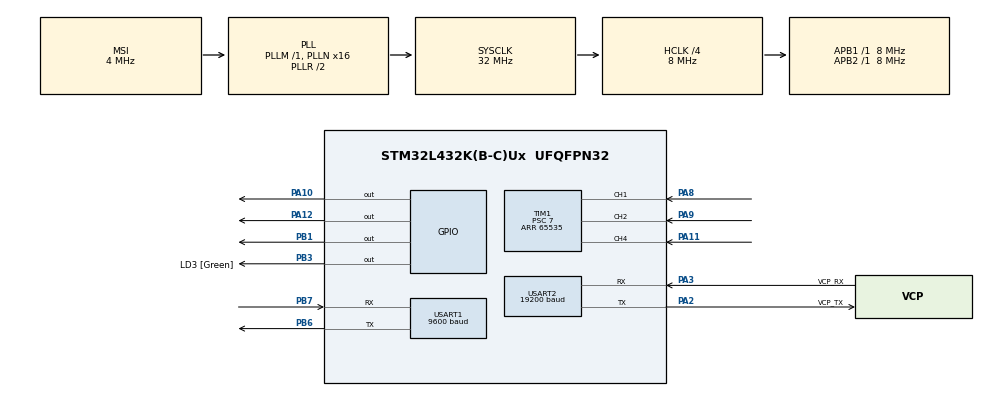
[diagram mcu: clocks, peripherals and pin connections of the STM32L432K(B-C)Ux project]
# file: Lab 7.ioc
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Mcu.Family=STM32L4
Mcu.Name=STM32L432K(B-C)Ux
Mcu.Package=UFQFPN32
NVIC.PriorityGroup=NVIC_PRIORITYGROUP_4
NVIC.TIM1_CC_IRQn=true\:0\:0\:false\:false\:true\:true\:true\:true
NVIC.USART1_IRQn=true\:0\:0\:false\:false\:true\:true\:true\:true
NVIC.USART2_IRQn=true\:0\:0\:false\:false\:true\:true\:true\:true
PA0.GPIO_Label=MCO [High speed clock in]
PA0.Mode=HSE-External-Clock-Source-for-LittleOrca
PA0.Signal=RCC_CK_IN
PA10.Signal=GPIO_Output
PA11.Signal=S_TIM1_CH4
PA12.Signal=GPIO_Output
PA13\ (JTMS-SWDIO).GPIO_Label=SWDIO
PA13\ (JTMS-SWDIO).Mode=Serial_Wire
PA13\ (JTMS-SWDIO).Signal=SYS_JTMS-SWDIO
PA14\ (JTCK-SWCLK).GPIO_Label=SWCLK
PA14\ (JTCK-SWCLK).Mode=Serial_Wire
PA14\ (JTCK-SWCLK).Signal=SYS_JTCK-SWCLK
PA2.GPIO_Label=VCP_TX
PA2.Mode=Asynchronous
PA2.Signal=USART2_TX
PA3.GPIO_Label=VCP_RX
PA3.Mode=Asynchronous
PA3.Signal=USART2_RX
PA8.Signal=S_TIM1_CH1
PA9.Signal=S_TIM1_CH2
PB1.Signal=GPIO_Output
PB3\ (JTDO-TRACESWO).GPIO_Label=LD3 [Green]
PB3\ (JTDO-TRACESWO).Signal=GPIO_Output
PB6.Mode=Asynchronous
PB6.Signal=USART1_TX
PB7.Mode=Asynchronous
PB7.Signal=USART1_RX
PC14-OSC32_IN\ (PC14).Mode=LSE-External-Oscillator
PC14-OSC32_IN\ (PC14).Signal=RCC_OSC32_IN
PC15-OSC32_OUT\ (PC15).Mode=LSE-External-Oscillator
PC15-OSC32_OUT\ (PC15).Signal=RCC_OSC32_OUT
ProjectManager.HeapSize=0x200
ProjectManager.StackSize=0x400
ProjectManager.TargetToolchain=MDK-ARM V5.32
RCC.AHBCLKDivider=RCC_SYSCLK_DIV4
RCC.AHBFreq_Value=8000000
RCC.APB1Freq_Value=8000000
RCC.APB1TimFreq_Value=8000000
RCC.APB2Freq_Value=8000000
RCC.APB2TimFreq_Value=8000000
RCC.CortexFreq_Value=8000000
RCC.HCLKFreq_Value=8000000
RCC.HSE_VALUE=8000000
RCC.HSI16_VALUE=16000000
RCC.HSI48_VALUE=48000000
RCC.HSI_VALUE=16000000
RCC.MSI_VALUE=4000000
RCC.PLLMUL=RCC_PLLMUL_4
RCC.PLLN=16
RCC.SYSCLKFreq_VALUE=32000000
RCC.SYSCLKSource=RCC_SYSCLKSOURCE_PLLCLK
RCC.VCOOutputFreq_Value=64000000
SH.S_TIM1_CH1.0=TIM1_CH1,Input_Capture1_from_TI1
SH.S_TIM1_CH2.0=TIM1_CH2,Input_Capture2_from_TI2
SH.S_TIM1_CH4.0=TIM1_CH4,Input_Capture4_from_TI4
TIM1.Channel-Input_Capture1_from_TI1=TIM_CHANNEL_1
TIM1.Channel-Input_Capture2_from_TI2=TIM_CHANNEL_2
TIM1.Channel-Input_Capture4_from_TI4=TIM_CHANNEL_4
TIM1.Period=65535
TIM1.Prescaler=7
USART1.BaudRate=9600
USART1.VirtualMode-Asynchronous=VM_ASYNC
USART2.BaudRate=19200
USART2.VirtualMode-Asynchronous=VM_ASYNC
VP_TIM1_VS_ClockSourceINT.Mode=Internal
board=NUCLEO-L432KC

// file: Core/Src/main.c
/* USER CODE BEGIN Header */
/**
 ******************************************************************************
 * @file           : main.c
 * @brief          : Main program body
 ******************************************************************************
 * @attention
 *
 * Copyright (c) 2022 STMicroelectronics.
 * All rights reserved.
 *
 * This software is licensed under terms that can be found in the LICENSE file
 * in the root directory of this software component.
 * If no LICENSE file comes with this software, it is provided AS-IS.
 *
 ******************************************************************************
 */
/* USER CODE END Header */
#include "main.h"

/* USER CODE BEGIN Includes */
#define perpendicular 0
#define parallel 1
/* USER CODE END Includes */

 TIM_HandleTypeDef htim1;

UART_HandleTypeDef huart1;
UART_HandleTypeDef huart2;

void SystemClock_Config(void);
static void MX_GPIO_Init(void);
static void MX_USART2_UART_Init(void);
static void MX_TIM1_Init(void);
static void MX_USART1_UART_Init(void);
/* USER CODE BEGIN PFP */

volatile int flag[3] , rise[3] , fall[3];
volatile int distance_left;
volatile int distance_right;
volatile int distance_front=100;
int distance_front_prev=0;
volatile int flag2;
volatile char buffer[100];
volatile int counter;
int parktype[2] = {parallel,parallel};
int time[2]={0,0};
int lastcar[2]={0,0};
int cartime[2]={0,0};
int counter_front=0;

void HAL_TIM_IC_CaptureCallback(TIM_HandleTypeDef *htim){

	int i=0;

	if (htim->Channel == HAL_TIM_ACTIVE_CHANNEL_1)
	{
			i = 1;

		if(!flag[i]){	 // if you’re waiting for the rising edge
			// Capture the timer current value
			rise[i] = HAL_TIM_ReadCapturedValue(htim,TIM_CHANNEL_1);
			// Set the polarity to wait for the next fall[i]ing edge
			__HAL_TIM_SET_CAPTUREPOLARITY(htim,TIM_CHANNEL_1, TIM_CLOCKPOLARITY_FALLING);
				flag[i] = !flag[i];
		}
		else { 	// if you’re waiting for the falling edge
			// Capture the timer current value
			fall[i] = HAL_TIM_ReadCapturedValue(htim,TIM_CHANNEL_1);
			// Set the polarity to wait for the next rising edge
			__HAL_TIM_SET_CAPTUREPOLARITY(htim,TIM_CHANNEL_1, TIM_CLOCKPOLARITY_RISING);
			flag[i] = !flag[i];
			// measure the distance_leftbetween the two edges
			uint32_t x = ((fall[i] - rise[i]))/58;
			fall[i] = 0, rise[i] = 0;

			distance_right = x;
		}
		char uartBuf4[25];
    sprintf(uartBuf4, "distance right: %d\r\n", distance_right);
    HAL_UART_Transmit(&huart2, (uint8_t *)uartBuf4, 25, 200);
	}

	else if (htim->Channel == HAL_TIM_ACTIVE_CHANNEL_2) {

			i=0;

			if(!flag[i]){	 // if you’re waiting for the rising edge
					// Capture the timer current value
					rise[i] = HAL_TIM_ReadCapturedValue(htim,TIM_CHANNEL_2);
					// Set the polarity to wait for the next fall[i]ing edge
					__HAL_TIM_SET_CAPTUREPOLARITY(htim,TIM_CHANNEL_2, TIM_CLOCKPOLARITY_FALLING);
						flag[i] = !flag[i];
			}
			else { 	// if you’re waiting for the falling edge
				// Capture the timer current value
				fall[i] = HAL_TIM_ReadCapturedValue(htim,TIM_CHANNEL_2);
				// Set the polarity to wait for the next rising edge
				__HAL_TIM_SET_CAPTUREPOLARITY(htim,TIM_CHANNEL_2, TIM_CLOCKPOLARITY_RISING);
				flag[i] = !flag[i];
				// measure the distance_leftbetween the two edges
				uint32_t x = ((fall[i] - rise[i]))/58;
				fall[i] = 0, rise[i] = 0;

				distance_left = x;

			}

//
		char uartBuf [20];
		sprintf(uartBuf, "Distance left: %d\r\n",distance_left);
		HAL_UART_Transmit(&huart2, (uint8_t *)uartBuf,20,20);
	}

	else if (htim->Channel == HAL_TIM_ACTIVE_CHANNEL_4) {
			i=2;

			if(!flag[i]){	 // if you’re waiting for the rising edge
					// Capture the timer current value
					rise[i] = HAL_TIM_ReadCapturedValue(htim,TIM_CHANNEL_4);
					// Set the polarity to wait for the next fall[i]ing edge
					__HAL_TIM_SET_CAPTUREPOLARITY(htim,TIM_CHANNEL_4, TIM_CLOCKPOLARITY_FALLING);
						flag[i] = !flag[i];
			}
			else { 	// if you’re waiting for the falling edge
				// Capture the timer current value
				fall[i] = HAL_TIM_ReadCapturedValue(htim,TIM_CHANNEL_4);
				// Set the polarity to wait for the next rising edge
				__HAL_TIM_SET_CAPTUREPOLARITY(htim,TIM_CHANNEL_4, TIM_CLOCKPOLARITY_RISING);
				flag[i] = !flag[i];
				// measure the distance_leftbetween the two edges
				uint32_t x = ((fall[i] - rise[i]))/58;
				fall[i] = 0, rise[i] = 0;

				distance_front = x;

			}
			char uartBuf5[25];
      sprintf(uartBuf5, "distance front: %d\r\n", distance_front);
      HAL_UART_Transmit(&huart2, (uint8_t *)uartBuf5, 25, 200);

		}
}

/* USER CODE END PFP */

/* USER CODE BEGIN 0 */

void reset()
{
  for (int i = 0; i < counter; i++)
    buffer[i] = 0;

  counter = 0;
  flag[0] = 0;
  flag[1] = 0;
  flag[2] = 0;
  distance_left = 0;
  distance_right = 0;
	distance_front=0;
	parktype[0] = parallel;
	parktype[1] = parallel;
	time[0] = 1;
	time[1] = 1;
}

/* USER CODE END 0 */

int main(void)
{

  /* MCU Configuration--------------------------------------------------------*/

  /* Reset of all peripherals, Initializes the Flash interface and the Systick. */
  HAL_Init();

  /* Configure the system clock */
  SystemClock_Config();

  /* Initialize all configured peripherals */
  MX_GPIO_Init();
  MX_USART2_UART_Init();
  MX_TIM1_Init();
  MX_USART1_UART_Init();
  /* USER CODE BEGIN 2 */
  HAL_TIM_Base_Start(&htim1);

  __HAL_UART_ENABLE_IT(&huart1, UART_IT_RXNE);
  uint8_t f[4] = {0xC2, 0x20, 0xC9, 0x20};
  uint8_t s[4] = {0xC1, 0x0, 0xC9, 0x0};
  // uint8_t f[4] = {0xC2, 0x20, 0xCA, 0x20};
  // uint8_t s [4] = {0xC2, 0x0, 0xCA, 0x0};
  uint8_t back[4] = {0xC1, 0x20, 0xCA, 0x20};
  uint8_t left[4] = {0xC2, 0x00, 0xCA, 0x20};
  uint8_t right[4] = {0xC2, 0x20, 0xC9, 0x0};
  uint8_t right_reverse[4] = {0xC1, 0x00, 0xCA, 0x20};
  uint8_t left_reverse[4] = {0xC1, 0x20, 0xC9, 0x0};

  /* USER CODE END 2 */

  /* Infinite loop */
  /* USER CODE BEGIN WHILE */
  const int meter_time = 5000;           // actual = 4000;
  const int width = 40;                // cm
  const int length = meter_time * 0.6; // cm  (in case of searching for parallel parking)
  const int speed = 10;                // cm/sec

	int park_chosen = -1;

  while (1)
  {
    /* USER CODE END WHILE */

    /* USER CODE BEGIN 3 */
    //
    //		while(!flag2);
    //		if (flag2 == 1)
    //		{

    if (buffer[0] == 'S')
    {
			HAL_UART_Transmit(&huart2, f, 4, 100);

      while (1)
      {
        __HAL_TIM_SetCounter(&htim1, 0);
				//channel 2
        HAL_GPIO_WritePin(GPIOA, GPIO_PIN_10, 1);
        while (__HAL_TIM_GET_COUNTER(&htim1) < 10);
        HAL_GPIO_WritePin(GPIOA, GPIO_PIN_10, 0);

        HAL_TIM_IC_Start_IT(&htim1, TIM_CHANNEL_2);
        HAL_Delay(100);

				//channel 1
				 __HAL_TIM_SetCounter(&htim1, 0);
				HAL_GPIO_WritePin(GPIOB, GPIO_PIN_1, 1);
        while (__HAL_TIM_GET_COUNTER(&htim1) < 10);
        HAL_GPIO_WritePin(GPIOB, GPIO_PIN_1, 0);

        HAL_TIM_IC_Start_IT(&htim1, TIM_CHANNEL_1);
        HAL_Delay(100);

				//channel 4
				__HAL_TIM_SetCounter(&htim1, 0);
        HAL_GPIO_WritePin(GPIOA, GPIO_PIN_12, 1);
        while (__HAL_TIM_GET_COUNTER(&htim1) < 10);
        HAL_GPIO_WritePin(GPIOA, GPIO_PIN_12, 0);

        HAL_TIM_IC_Start_IT(&htim1, TIM_CHANNEL_4);
        HAL_Delay(100);

				if(distance_front < 15){
						HAL_UART_Transmit(&huart2, s, 4, 100);
						reset();
						break;
				}

       //left
        if (distance_left > width)
        {
          time[0]++;
					lastcar[0] = lastcar[0]>cartime[0] ? lastcar[0] : cartime[0];
					cartime[0]=1;
        }
        else
        {
					cartime[0]++;
          time[0] = 1;
        }

				//right
				if (distance_right > width)
        {
          time[1]++;
					lastcar[1] = lastcar[1]>cartime[1] ? lastcar[1] : cartime[1];
					cartime[1]=1;
        }
        else
        {
					cartime[1]++;
          time[1] = 1;
        }

				//left
				if(lastcar[0] >8)
					parktype[0] = parallel;
				else
					parktype[0] = perpendicular;

				//right
				if(lastcar[1] >12)
					parktype[1] = parallel;
				else
					parktype[1] = perpendicular;

        // search for parking space
        //left
        if ((time[0]) >= 12 && parktype[0] == perpendicular)
        {
          HAL_UART_Transmit(&huart2, s, 4, 100);
					HAL_UART_Transmit(&huart2, back, 4, 100);
          HAL_Delay(450);
          HAL_UART_Transmit(&huart2, left_reverse, 4, 100);
          HAL_Delay(3400);
          HAL_UART_Transmit(&huart2, back, 4, 100);
          HAL_Delay(1600);
          HAL_UART_Transmit(&huart2, s, 4, 100);
					park_chosen=1;
//					char uartBuf3[20];
//        sprintf(uartBuf3, "park: %d\r\n", park_chosen);
//        HAL_UART_Transmit(&huart2, (uint8_t *)uartBuf3, 20, 200);

          reset();
          break;
				}
				else if(parktype[0] == parallel && time[0] >= 14) {  //parallel
					HAL_UART_Transmit(&huart2, f, 4, 100);
					HAL_Delay(550);
					HAL_UART_Transmit(&huart2, left_reverse, 4, 100);
					HAL_Delay(1800);
					HAL_UART_Transmit(&huart2, back, 4, 100);
					HAL_Delay(1900);
					HAL_UART_Transmit(&huart2, right_reverse, 4, 100);
					HAL_Delay(2150);
					HAL_UART_Transmit(&huart2, s, 4, 100);
					park_chosen=2;
//					char uartBuf3[20];
//        sprintf(uartBuf3, "park: %d\r\n", park_chosen);
//        HAL_UART_Transmit(&huart2, (uint8_t *)uartBuf3, 20, 200);

					reset();
					break;
				}
     //right
				else if ((time[1]) >= 12 && parktype[1] == perpendicular)
        {
          HAL_UART_Transmit(&huart2, s, 4, 100);
					HAL_UART_Transmit(&huart2, back, 4, 100);
          HAL_Delay(450);
          HAL_UART_Transmit(&huart2, right_reverse, 4, 100);
          HAL_Delay(4000);
          HAL_UART_Transmit(&huart2, back, 4, 100);
          HAL_Delay(1700);
          HAL_UART_Transmit(&huart2, s, 4, 100);
					park_chosen=3;
//					char uartBuf3[20];
//        sprintf(uartBuf3, "park: %d\r\n", park_chosen);
//        HAL_UART_Transmit(&huart2, (uint8_t *)uartBuf3, 20, 200);

          reset();
          break;
				}
				else if(parktype[1] == parallel && time[1] >= 14) {  //parallel
					HAL_UART_Transmit(&huart2, f, 4, 100);
					HAL_Delay(550);
					HAL_UART_Transmit(&huart2, right_reverse, 4, 100);
					HAL_Delay(1800);
					HAL_UART_Transmit(&huart2, back, 4, 100);
					HAL_Delay(1900);
					HAL_UART_Transmit(&huart2, left_reverse, 4, 100);
					HAL_Delay(2000);
					HAL_UART_Transmit(&huart2, s, 4, 100);
					park_chosen=4;
//					char uartBuf3[20];
//        sprintf(uartBuf3, "park: %d\r\n", park_chosen);
//        HAL_UART_Transmit(&huart2, (uint8_t *)uartBuf3, 20, 200);

					reset();
					break;
				}

//        char uartBuf[20];
//        sprintf(uartBuf, "Time: %d\r\n", time[0]);
//        HAL_UART_Transmit(&huart2, (uint8_t *)uartBuf, 20, 200);
//				char uartBuf2[20];
//        sprintf(uartBuf2, "Time2: %d\r\n", time[1]);
//        HAL_UART_Transmit(&huart2, (uint8_t *)uartBuf2, 20, 200);
//				char uartBuf2[20];
//        sprintf(uartBuf2, "lastcar[0]: %d\r\n", lastcar[0]);
//        HAL_UART_Transmit(&huart2, (uint8_t *)uartBuf2, 20, 200);
//				char uartBuf3[20];
//        sprintf(uartBuf3, "parktype[0]: %d\r\n", parktype[0]);
//        HAL_UART_Transmit(&huart2, (uint8_t *)uartBuf3, 20, 200);
//				char uartBuf4[25];
//        sprintf(uartBuf4, "distance left: %d\r\n", distance_left);
//        HAL_UART_Transmit(&huart2, (uint8_t *)uartBuf4, 25, 200);
//				char uartBuf5[25];
//        sprintf(uartBuf5, "distance right: %d\r\n", distance_right);
//        HAL_UART_Transmit(&huart2, (uint8_t *)uartBuf5, 25, 200);
      }
    }

    //		HAL_UART_Transmit(&huart2, s, 4, 100);
    //		HAL_Delay(5000);
    reset();
    //		}
  }
  /* USER CODE END 3 */
}

void SystemClock_Config(void)
{
  RCC_OscInitTypeDef RCC_OscInitStruct = {0};
  RCC_ClkInitTypeDef RCC_ClkInitStruct = {0};

  /** Configure the main internal regulator output voltage
  */
  if (HAL_PWREx_ControlVoltageScaling(PWR_REGULATOR_VOLTAGE_SCALE1) != HAL_OK)
  {
    Error_Handler();
  }

  /** Configure LSE Drive Capability
  */
  HAL_PWR_EnableBkUpAccess();
  __HAL_RCC_LSEDRIVE_CONFIG(RCC_LSEDRIVE_LOW);

  /** Initializes the RCC Oscillators according to the specified parameters
  * in the RCC_OscInitTypeDef structure.
  */
  RCC_OscInitStruct.OscillatorType = RCC_OSCILLATORTYPE_LSE|RCC_OSCILLATORTYPE_MSI;
  RCC_OscInitStruct.LSEState = RCC_LSE_ON;
  RCC_OscInitStruct.MSIState = RCC_MSI_ON;
  RCC_OscInitStruct.MSICalibrationValue = 0;
  RCC_OscInitStruct.MSIClockRange = RCC_MSIRANGE_6;
  RCC_OscInitStruct.PLL.PLLState = RCC_PLL_ON;
  RCC_OscInitStruct.PLL.PLLSource = RCC_PLLSOURCE_MSI;
  RCC_OscInitStruct.PLL.PLLM = 1;
  RCC_OscInitStruct.PLL.PLLN = 16;
  RCC_OscInitStruct.PLL.PLLP = RCC_PLLP_DIV7;
  RCC_OscInitStruct.PLL.PLLQ = RCC_PLLQ_DIV2;
  RCC_OscInitStruct.PLL.PLLR = RCC_PLLR_DIV2;
  if (HAL_RCC_OscConfig(&RCC_OscInitStruct) != HAL_OK)
  {
    Error_Handler();
  }

  /** Initializes the CPU, AHB and APB buses clocks
  */
  RCC_ClkInitStruct.ClockType = RCC_CLOCKTYPE_HCLK|RCC_CLOCKTYPE_SYSCLK
                              |RCC_CLOCKTYPE_PCLK1|RCC_CLOCKTYPE_PCLK2;
  RCC_ClkInitStruct.SYSCLKSource = RCC_SYSCLKSOURCE_PLLCLK;
  RCC_ClkInitStruct.AHBCLKDivider = RCC_SYSCLK_DIV4;
  RCC_ClkInitStruct.APB1CLKDivider = RCC_HCLK_DIV1;
  RCC_ClkInitStruct.APB2CLKDivider = RCC_HCLK_DIV1;

  if (HAL_RCC_ClockConfig(&RCC_ClkInitStruct, FLASH_LATENCY_0) != HAL_OK)
  {
    Error_Handler();
  }

  /** Enable MSI Auto calibration
  */
  HAL_RCCEx_EnableMSIPLLMode();
}

static void MX_TIM1_Init(void)
{

  TIM_ClockConfigTypeDef sClockSourceConfig = {0};
  TIM_MasterConfigTypeDef sMasterConfig = {0};
  TIM_IC_InitTypeDef sConfigIC = {0};

  htim1.Instance = TIM1;
  htim1.Init.Prescaler = 7;
  htim1.Init.CounterMode = TIM_COUNTERMODE_UP;
  htim1.Init.Period = 65535;
  htim1.Init.ClockDivision = TIM_CLOCKDIVISION_DIV1;
  htim1.Init.RepetitionCounter = 0;
  htim1.Init.AutoReloadPreload = TIM_AUTORELOAD_PRELOAD_DISABLE;
  if (HAL_TIM_Base_Init(&htim1) != HAL_OK)
  {
    Error_Handler();
  }
  sClockSourceConfig.ClockSource = TIM_CLOCKSOURCE_INTERNAL;
  if (HAL_TIM_ConfigClockSource(&htim1, &sClockSourceConfig) != HAL_OK)
  {
    Error_Handler();
  }
  if (HAL_TIM_IC_Init(&htim1) != HAL_OK)
  {
    Error_Handler();
  }
  sMasterConfig.MasterOutputTrigger = TIM_TRGO_RESET;
  sMasterConfig.MasterOutputTrigger2 = TIM_TRGO2_RESET;
  sMasterConfig.MasterSlaveMode = TIM_MASTERSLAVEMODE_DISABLE;
  if (HAL_TIMEx_MasterConfigSynchronization(&htim1, &sMasterConfig) != HAL_OK)
  {
    Error_Handler();
  }
  sConfigIC.ICPolarity = TIM_INPUTCHANNELPOLARITY_RISING;
  sConfigIC.ICSelection = TIM_ICSELECTION_DIRECTTI;
  sConfigIC.ICPrescaler = TIM_ICPSC_DIV1;
  sConfigIC.ICFilter = 0;
  if (HAL_TIM_IC_ConfigChannel(&htim1, &sConfigIC, TIM_CHANNEL_1) != HAL_OK)
  {
    Error_Handler();
  }
  if (HAL_TIM_IC_ConfigChannel(&htim1, &sConfigIC, TIM_CHANNEL_2) != HAL_OK)
  {
    Error_Handler();
  }
  if (HAL_TIM_IC_ConfigChannel(&htim1, &sConfigIC, TIM_CHANNEL_4) != HAL_OK)
  {
    Error_Handler();
  }

}

static void MX_USART1_UART_Init(void)
{

  huart1.Instance = USART1;
  huart1.Init.BaudRate = 9600;
  huart1.Init.WordLength = UART_WORDLENGTH_8B;
  huart1.Init.StopBits = UART_STOPBITS_1;
  huart1.Init.Parity = UART_PARITY_NONE;
  huart1.Init.Mode = UART_MODE_TX_RX;
  huart1.Init.HwFlowCtl = UART_HWCONTROL_NONE;
  huart1.Init.OverSampling = UART_OVERSAMPLING_16;
  huart1.Init.OneBitSampling = UART_ONE_BIT_SAMPLE_DISABLE;
  huart1.AdvancedInit.AdvFeatureInit = UART_ADVFEATURE_NO_INIT;
  if (HAL_UART_Init(&huart1) != HAL_OK)
  {
    Error_Handler();
  }

}

static void MX_USART2_UART_Init(void)
{

  huart2.Instance = USART2;
  huart2.Init.BaudRate = 19200;
  huart2.Init.WordLength = UART_WORDLENGTH_8B;
  huart2.Init.StopBits = UART_STOPBITS_1;
  huart2.Init.Parity = UART_PARITY_NONE;
  huart2.Init.Mode = UART_MODE_TX_RX;
  huart2.Init.HwFlowCtl = UART_HWCONTROL_NONE;
  huart2.Init.OverSampling = UART_OVERSAMPLING_16;
  huart2.Init.OneBitSampling = UART_ONE_BIT_SAMPLE_DISABLE;
  huart2.AdvancedInit.AdvFeatureInit = UART_ADVFEATURE_NO_INIT;
  if (HAL_UART_Init(&huart2) != HAL_OK)
  {
    Error_Handler();
  }

}

static void MX_GPIO_Init(void)
{
  GPIO_InitTypeDef GPIO_InitStruct = {0};

  /* GPIO Ports Clock Enable */
  __HAL_RCC_GPIOC_CLK_ENABLE();
  __HAL_RCC_GPIOA_CLK_ENABLE();
  __HAL_RCC_GPIOB_CLK_ENABLE();

  /*Configure GPIO pin Output Level */
  HAL_GPIO_WritePin(GPIOB, GPIO_PIN_1|LD3_Pin, GPIO_PIN_RESET);

  /*Configure GPIO pin Output Level */
  HAL_GPIO_WritePin(GPIOA, GPIO_PIN_10|GPIO_PIN_12, GPIO_PIN_RESET);

  /*Configure GPIO pins : PB1 LD3_Pin */
  GPIO_InitStruct.Pin = GPIO_PIN_1|LD3_Pin;
  GPIO_InitStruct.Mode = GPIO_MODE_OUTPUT_PP;
  GPIO_InitStruct.Pull = GPIO_NOPULL;
  GPIO_InitStruct.Speed = GPIO_SPEED_FREQ_LOW;
  HAL_GPIO_Init(GPIOB, &GPIO_InitStruct);

  /*Configure GPIO pins : PA10 PA12 */
  GPIO_InitStruct.Pin = GPIO_PIN_10|GPIO_PIN_12;
  GPIO_InitStruct.Mode = GPIO_MODE_OUTPUT_PP;
  GPIO_InitStruct.Pull = GPIO_NOPULL;
  GPIO_InitStruct.Speed = GPIO_SPEED_FREQ_LOW;
  HAL_GPIO_Init(GPIOA, &GPIO_InitStruct);

}

void Error_Handler(void)
{
  __disable_irq();
  while (1)
  {
  }
}
